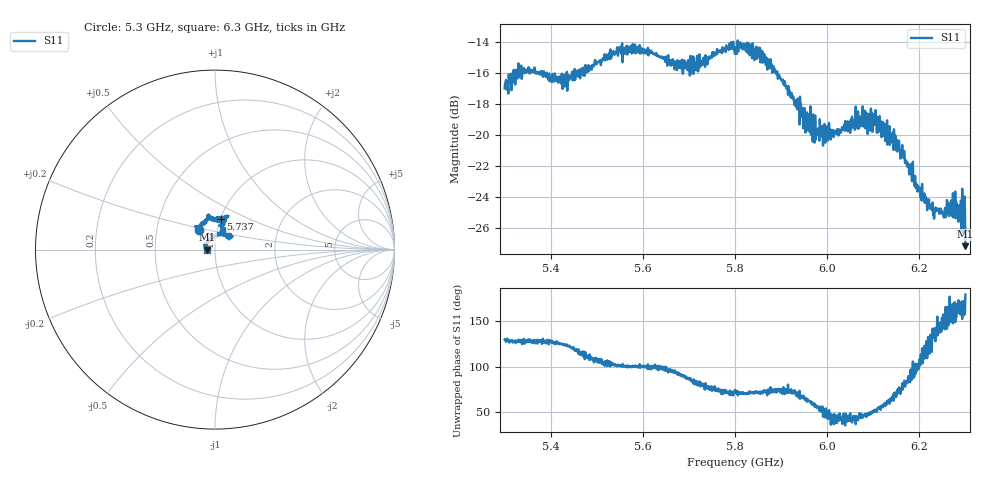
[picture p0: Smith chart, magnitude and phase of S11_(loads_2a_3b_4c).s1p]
! NanoVNA-App
! Date: 2026-11-04 22:26:10
! Start: 5,3GHz Stop: 6,3GHz Points: 1001
! S-Parameter data: F S11
# Hz S RI R 50
!  Frequency  S11_Real  S11_Imag
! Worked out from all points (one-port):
!   1001 points, 5.3 GHz to 6.3 GHz, reference 50 ohm
!   lowest |S11| = -27.2 dB at 6.3 GHz (marker M1), VSWR 1.09, Z = 45.8 + j0.0313 ohm
!   |S11| at or under -10 dB: start of sweep to end of sweep
!   S11 on the Smith chart (normalised r, x): 5.3 GHz: 0.82, +0.18; 5.737 GHz: 1.00, +0.35; 6.3 GHz: 0.92, +0.00
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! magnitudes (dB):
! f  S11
! 5.3 GHz  -17.0
! 5.347 GHz  -15.8
! 5.425 GHz  -16.3
! 5.55 GHz  -14.4
! 5.616 GHz  -14.6
! 5.675 GHz  -15.2
! 5.71 GHz  -16.0
! 5.737 GHz  -15.2
! 5.786 GHz  -14.5
! 5.8 GHz  -14.8
! 5.834 GHz  -14.2
! 5.859 GHz  -14.6
! 5.925 GHz  -17.6
! 5.941 GHz  -17.5
! 5.958 GHz  -19.7
! 5.978 GHz  -20.0
! 6.013 GHz  -19.7
! 6.05 GHz  -19.9
! 6.082 GHz  -18.4
! 6.105 GHz  -18.4
! 6.144 GHz  -21.0
! 6.175 GHz  -21.8
! 6.197 GHz  -23.3
! 6.229 GHz  -24.4
! 6.254 GHz  -25.3
! 6.278 GHz  -23.7
! 6.294 GHz  -24.8
! 6.3 GHz  -27.2
